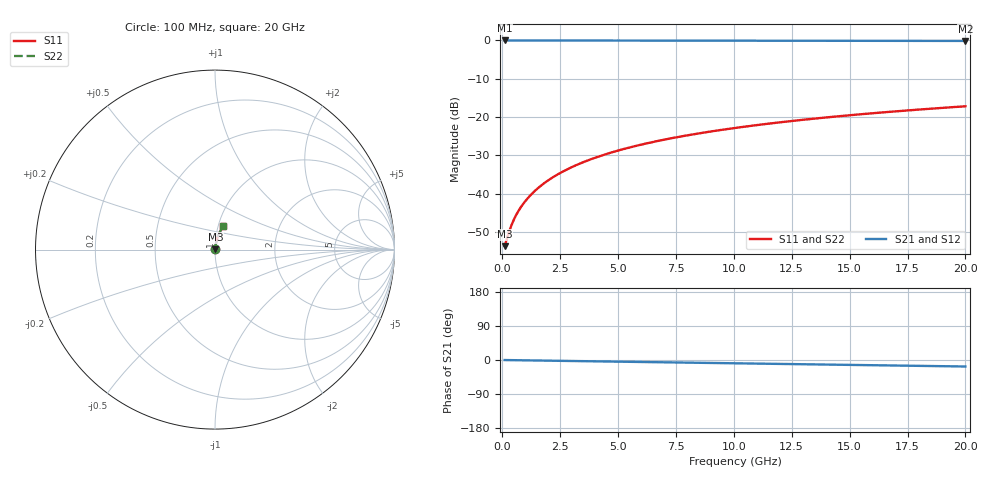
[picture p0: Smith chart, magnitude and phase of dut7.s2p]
! Touchstone file exported from HFSS 2026.1.0
!  File:  C:/ffzhzh/LocalFiles/Ansys_Project_Files/temp_val_TMRDL_7_1782902672_8056.aedt
!  Generated:  06:46:09 PM Jul  1, 2026
!  Design:  TMRDL
!  Project:  temp_val_TMRDL_7_1782902672_8056
! Variables:
!  h_bsmrdl = 2um
!  h_ox = 20um
!  h_rdl = 5um
!  h_sub = 80um
!  h_tmrdl = 2.64um
!  h_tsv = 80um
!  h_via = 3um
!  l_bsmrdl = 300um
!  l_sub = 646.07um
!  l_tmrdl = 246.07um
!  m_sub = 200um
!  pitch = 34.98um
!  r_tsv = 6um
!  s_tmrdl = 10um
!  w_bsmrdl = 18um
!  w_sub = 500um
!  w_tmrdl = 21.01um
!  x_tsv_center1 = 256.575um
!  x_tsv_center2 = 574.575um
!  x_tsv_center3 = 841.655um
!  x_tsv_center4 = 1159.655um
!  x_tsv_center5 = 1426.735um
!  x_tsv_center6 = 1744.735um
# GHz S MA R 50.000000
! Terminal data exported
! Port[1] = TM_RDL1_1_T1
! Port[2] = TM_RDL1_1_T2
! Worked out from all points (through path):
!   200 points, 100 MHz to 20 GHz, reference 50 ohm
!   highest |S21| = -0.02 dB at 100 MHz (marker M1); lowest = -0.1 dB at 20 GHz (marker M2)
!   group delay of S21, straight-line fit = 2.38 ps
!   lowest |S11| = -53.7 dB at 100 MHz (marker M3), VSWR 1.00, Z = 50.2 + j0.0859 ohm
!   |S11| at or under -10 dB: start of sweep to end of sweep
!   |S22| runs from -53.7 to -17.2 dB; largest |S21 - S12| = 3.2e-15
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0.1  0.002059 24.5  0.9981 -0.1  0.9981 -0.1  0.002059 24.5
! Gamma 0 0 0 0
! Port Impedance 50 0 50 0
0.3  0.003211 51.0  0.998 -0.3  0.998 -0.3  0.003211 51.0
0.4  0.003893 57.0  0.9979 -0.4  0.9979 -0.4  0.003893 57.0
0.5  0.004582 61.2  0.9978 -0.5  0.9978 -0.5  0.004582 61.2
0.6  0.00527 64.2  0.9977 -0.5  0.9977 -0.5  0.00527 64.2
0.7  0.005956 66.6  0.9977 -0.6  0.9977 -0.6  0.005956 66.6
0.9  0.007328 70.1  0.9976 -0.8  0.9976 -0.8  0.007327 70.1
1.2  0.009399 73.5  0.9975 -1.1  0.9975 -1.1  0.009398 73.5
1.4  0.01079 75.2  0.9974 -1.2  0.9974 -1.2  0.01079 75.2
1.7  0.0129 76.9  0.9974 -1.5  0.9974 -1.5  0.0129 76.9
2.2  0.01644 78.8  0.9972 -1.9  0.9972 -1.9  0.01644 78.8
2.8  0.02073 79.9  0.9971 -2.5  0.9971 -2.5  0.02073 79.9
3.5  0.02574 80.6  0.9968 -3.1  0.9968 -3.1  0.02574 80.6
4.2  0.03075 80.8  0.9966 -3.7  0.9966 -3.7  0.03075 80.8
5  0.03647 80.7  0.9962 -4.4  0.9962 -4.4  0.03647 80.7
5.9  0.04287 80.4  0.9958 -5.2  0.9958 -5.2  0.04287 80.4
6.8  0.04925 80.0  0.9953 -5.9  0.9953 -5.9  0.04925 80.0
8.3  0.05978 79.1  0.9944 -7.2  0.9944 -7.2  0.05978 79.1
10.1  0.07227 77.8  0.9931 -8.8  0.9931 -8.8  0.07227 77.8
13.4  0.09472 75.3  0.9904 -11.6  0.9904 -11.6  0.09472 75.3
16.7  0.1166 72.7  0.9873 -14.4  0.9873 -14.4  0.1166 72.7
20  0.1379 70.1  0.9839 -17.2  0.9839 -17.2  0.1379 70.1
